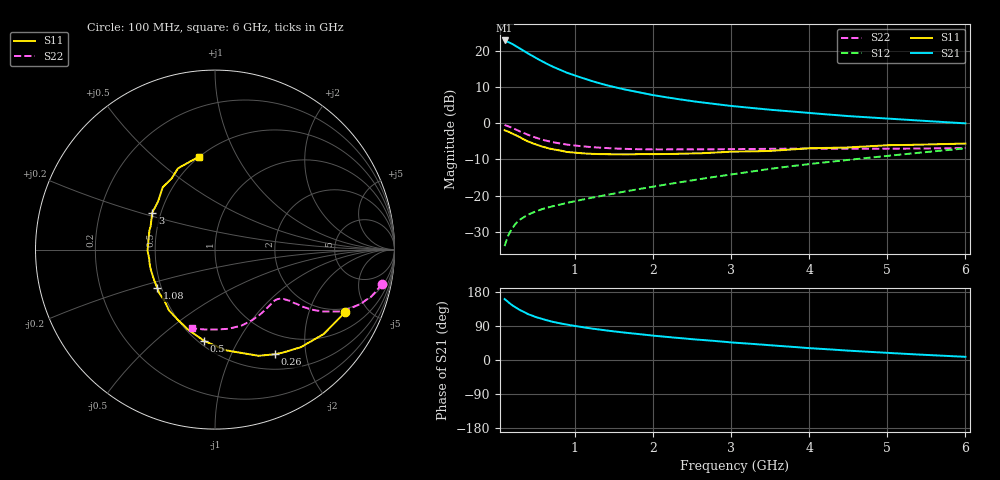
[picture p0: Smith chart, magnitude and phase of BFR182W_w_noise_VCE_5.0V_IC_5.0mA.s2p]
! Infineon Technologies  Discrete & RF Semiconductors
! BFR182W
! VCE =  5.0 V,  IC =  5.0 mA
! Common Emitter S-Parameters:  Nov 2015
# GHz  S  MA  R  50
!  f  S11  S21  S12  S22
! GHz  MAG  ANG  MAG  ANG  MAG  ANG  MAG  ANG
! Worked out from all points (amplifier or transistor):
!   192 points, 100 MHz to 6 GHz, reference 50 ohm
!   highest |S21| = 23.0 dB at 100 MHz (marker M1)
!   |S21| within 3 dB of that: start of sweep to 353.8 MHz
!   unconditionally stable (mu >= 1): 1.379 GHz to 2.905 GHz
!   at 440 MHz: K = 0.50, MSG = 21.9 dB, |S12| = -24.9 dB
!   at 1.7 GHz: K = 1.05, MAG = 12.6 dB, |S12| = -18.7 dB
!   at 6 GHz: K = 0.77, MSG = 3.5 dB, |S12| = -6.9 dB
!   lowest NFmin = 1.20 dB at 450 MHz
!   S11 on the Smith chart (normalised r, x): 100 MHz: 1.79, -3.53; 260 MHz: 0.70, -1.48; 500 MHz: 0.53, -0.74; 1.08 GHz: 0.47, -0.24; 3 GHz: 0.45, +0.22; 6 GHz: 0.50, +0.71
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0.1  0.8044 -25.7  14.07 160.8  0.0199 76.3  0.9505 -11.7
0.15  0.767 -37.8  13.36 152.0  0.0285 71.4  0.9105 -16.6
0.195  0.7275 -47.5  12.62 144.9  0.0348 67.0  0.8678 -20.2
0.24  0.6877 -56.5  11.85 138.7  0.0406 63.7  0.824 -23.3
0.26  0.6712 -60.3  11.51 136.2  0.0428 62.4  0.8055 -24.5
0.3  0.6396 -67.7  10.82 131.3  0.0467 59.9  0.7702 -26.6
0.4  0.5642 -83.9  9.297 121.0  0.0544 56.1  0.6914 -29.9
0.5  0.512 -96.8  8.041 113.3  0.0605 53.9  0.6319 -31.9
0.6  0.4704 -108.6  7.034 107.0  0.0659 53.2  0.5864 -33.0
0.7  0.4416 -118.3  6.205 101.5  0.0704 53.2  0.5532 -33.5
0.8  0.4243 -127.3  5.566 97.0  0.0746 53.6  0.5276 -34.1
0.9  0.4012 -134.5  5.017 93.2  0.0791 54.2  0.5076 -34.3
1.08  0.386 -146.5  4.306 87.4  0.0871 55.8  0.4831 -35.2
1.1  0.3844 -147.7  4.236 86.8  0.088 56.0  0.4807 -35.3
1.2  0.3792 -153.8  3.894 83.4  0.0925 56.8  0.469 -35.8
1.5  0.3732 -167.3  3.186 75.4  0.1064 59.3  0.4491 -37.8
2.08  0.3748 171.7  2.381 62.8  0.1374 63.1  0.4352 -43.0
3  0.4054 149.6  1.742 46.4  0.1957 65.1  0.4398 -54.6
3.1  0.4064 147.6  1.7 45.0  0.2034 65.0  0.4401 -56.2
4.1  0.4543 128.3  1.364 30.1  0.2806 62.4  0.4471 -72.6
5.1  0.4991 112.8  1.148 17.7  0.3632 57.6  0.4453 -90.9
6  0.525 99.9  1 8.4  0.4503 51.9  0.4563 -106.0
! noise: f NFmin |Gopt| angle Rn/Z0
0.45  1.2  0.27  37  0.3
0.9  1.3  0.25  75  0.23
1.8  1.9  0.21  145  0.2
